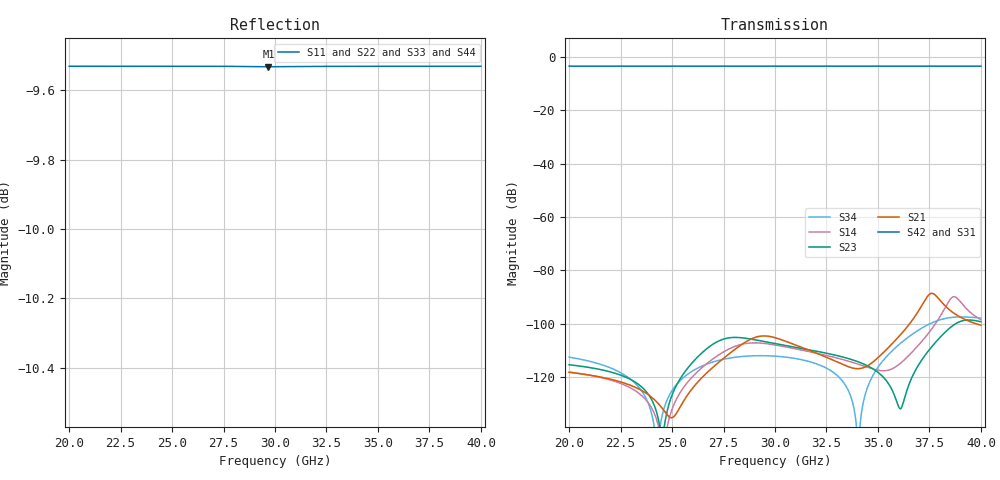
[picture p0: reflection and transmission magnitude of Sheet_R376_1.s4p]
! TOUCHSTONE file generated by CST MICROWAVE STUDIO
! Date and time: Mon Mar 10 22:38:50 2025
! Project name: Sheet_R376ab_Lo4.cst
! Parameters = {Dport=-5.65385; Dspace=5.76923; Lamb=11.5385; Rs=376; Xs=0; a=2.88462; b=2.88462; phi=0; theta=0}
! Header version: 2024
! Port assignment regex: !\s*Touchstone port\s*([0-9]+)\s*=\s*(CST MWS port|CST DES external port|CST DES block port)\s*(.+)\s* \(\"(.*)\"\)(\s*mode\s*([0-9]+))?.*
! Touchstone port assignment:
! Touchstone port 1 = CST MWS port Zmax ("") mode 1
! Touchstone port 2 = CST MWS port Zmax ("") mode 2
! Touchstone port 3 = CST MWS port Zmin ("") mode 1
! Touchstone port 4 = CST MWS port Zmin ("") mode 2
# GHz S MA R 376.73
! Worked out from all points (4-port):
!   1001 points, 20 GHz to 40 GHz, reference 376.73 ohm
!   strongest paths, dB at 20 GHz, 25 GHz, 30 GHz, 35 GHz, 40 GHz:
!     S42: -3.5, -3.5, -3.5, -3.5, -3.5
!     S31: -3.5, -3.5, -3.5, -3.5, -3.5
!     S21: -118.2, -135.2, -105.2, -112.7, -100.5
!     S23: -115.3, -126.7, -107.4, -118.2, -99.2
!     S14: -118.1, -132.0, -107.9, -117.4, -98.5
!     S34: -112.5, -125.0, -112.1, -116.3, -97.9
!   lowest |S11| = -9.5 dB at 29.68 GHz (marker M1), VSWR 2.00, Z = 188 - j0.00117 ohm
!   |S11| at or under -10 dB: nowhere
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20  0.3338 -180.0  1.339e-06 -93.1  0.6662 -2.8  1.247e-06 48.6
    1.237e-06 -89.8  0.3338 -180.0  1.712e-06 97.5  0.6662 -2.8
    0.6662 -2.8  1.897e-06 100.7  0.3338 174.5  2.375e-06 -105.2
    1.844e-06 95.9  0.6662 -2.8  1.677e-06 -131.0  0.3338 174.5
29.68  0.3337 -180.0  5.561e-06 -29.9  0.6662 -4.1  4.196e-06 121.5
       5.842e-06 -13.8  0.3337 180.0  4.491e-06 143.9  0.6662 -4.1
       0.6662 -4.1  2.712e-06 167.0  0.3337 171.8  2.514e-06 -8.2
       1.625e-06 -175.4  0.6662 -4.1  1.966e-06 -13.4  0.3337 171.8
30.3  0.3337 -180.0  4.683e-06 -43.1  0.6661 -4.2  3.833e-06 111.6
      5.049e-06 -32.4  0.3337 -180.0  4.048e-06 138.6  0.6662 -4.2
      0.666 -4.2  2.562e-06 164.1  0.3337 171.6  2.425e-06 -11.5
      1.575e-06 -177.0  0.6661 -4.2  1.977e-06 -17.1  0.3337 171.6
30.48  0.3337 -180.0  4.432e-06 -45.7  0.6661 -4.2  3.72e-06 109.4
       4.769e-06 -36.1  0.3337 -180.0  3.931e-06 137.4  0.6661 -4.2
       0.6662 -4.2  2.513e-06 163.4  0.3337 171.6  2.386e-06 -12.3
       1.556e-06 -177.3  0.6662 -4.2  1.967e-06 -18.1  0.3337 171.6
31.36  0.3337 -180.0  3.382e-06 -52.3  0.6662 -4.3  3.181e-06 102.0
       3.538e-06 -46.4  0.3337 -180.0  3.413e-06 133.5  0.6661 -4.3
       0.6663 -4.3  2.236e-06 161.2  0.3337 171.3  2.098e-06 -15.4
       1.431e-06 -177.6  0.6663 -4.3  1.819e-06 -22.5  0.3337 171.3
32.88  0.3337 -180.0  2.064e-06 -45.3  0.6663 -4.5  2.351e-06 99.2
       2.036e-06 -41.1  0.3337 -180.0  2.611e-06 131.2  0.6663 -4.5
       0.6663 -4.6  1.587e-06 161.6  0.3337 170.9  1.193e-06 -16.8
       1.093e-06 -171.2  0.6663 -4.6  1.112e-06 -28.9  0.3337 170.9
40  0.3338 180.0  1.117e-05 -89.3  0.6662 -5.5  1.191e-05 71.3
    9.389e-06 -83.9  0.3338 180.0  1.091e-05 58.8  0.6662 -5.5
    0.6662 -5.5  1.003e-05 86.8  0.3337 168.9  1.277e-05 -101.4
    9.12e-06 86.9  0.6662 -5.5  1.217e-05 -107.5  0.3337 168.9
